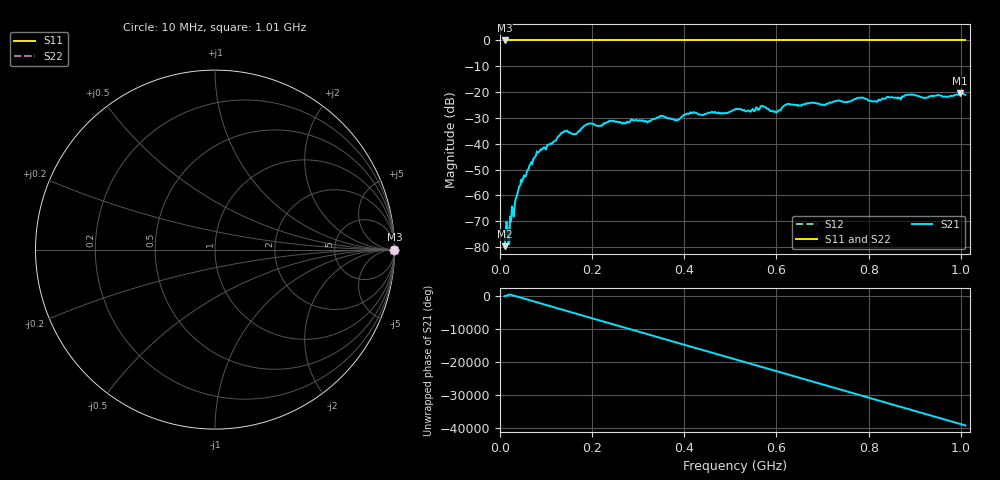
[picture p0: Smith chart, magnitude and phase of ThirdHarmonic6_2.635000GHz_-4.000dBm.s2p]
! 8/17/2025 5:54:54 AM
! C:\ANRITSUVNA\TEMP\TEMP.S2P
! CHANNEL.1
! TR.MEASUREMENT
! RAW.DATA
! RF.CORRECTION.OFF
! AVERAGING.OFF
! IF.BANDWIDTH: 5KHZ
! SWEEPTYPE:  FREQ.SWEEP(Linear)
! Reference Plane Port Info
! PORT:  PORT1  PORT2
! DISTANCE:  0  m  0  m
! TIME:  0  s  0  s
! PHASE.OFFSET:  0  deg.  0  deg.
! LOSS:  0  dB  0  dB
! REF.LOSS:  0  dB  0  dB
! REF.FREQ:  0  Hz  0  Hz
! Power Info
! POWER:  -20  dBm  -20  dBm
! EFF.POWER:  -20  dBm  -20  dBm
! SOURCE.ATTEN:  0  dB  0  dB
! TEST.ATTEN:  0  dB  0  dB
# GHZ S RI R 50.0
! FREQ.GHZ  S11RE  S11IM  S21RE  S21IM  S12RE  S12IM  S22RE  S22IM
!; PortSelection: Port_12
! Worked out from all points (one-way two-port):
!   501 points, 10 MHz to 1.01 GHz, reference 50 ohm
!   highest |S21| = -20.43 dB at 998 MHz (marker M1); lowest = -79.7 dB at 10 MHz (marker M2)
!   lowest |S11| = 0.0 dB at 10 MHz (marker M3)
!   |S11| at or under -10 dB: nowhere
!   |S22| runs from 0.0 to 0.0 dB; largest |S21 - S12| = 1.1
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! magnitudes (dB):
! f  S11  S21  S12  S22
! 10 MHz  0.0  -79.7  0.0  0.0
! 20 MHz  0.0  -78.8  0.0  0.0
! 26 MHz  0.0  -64.3  0.0  0.0
! 42 MHz  0.0  -56.4  0.0  0.0
! 78 MHz  0.0  -44.6  0.0  0.0
! 136 MHz  0.0  -35.7  0.0  0.0
! 162 MHz  0.0  -36.3  0.0  0.0
! 178 MHz  0.0  -33.9  0.0  0.0
! 194 MHz  0.0  -32.1  0.0  0.0
! 322 MHz  0.0  -31.4  0.0  0.0
! 344 MHz  0.0  -29.8  0.0  0.0
! 384 MHz  0.0  -30.8  0.0  0.0
! 416 MHz  0.0  -28.1  0.0  0.0
! 510 MHz  0.0  -26.8  0.0  0.0
! 570 MHz  0.0  -25.4  0.0  0.0
! 598 MHz  0.0  -27.6  0.0  0.0
! 624 MHz  0.0  -24.6  0.0  0.0
! 678 MHz  0.0  -24.1  0.0  0.0
! 814 MHz  0.0  -23.5  0.0  0.0
! 844 MHz  0.0  -22.0  0.0  0.0
! 998 MHz  0.0  -20.4  0.0  0.0
! 1.01 GHz  0.0  -21.1  0.0  0.0
